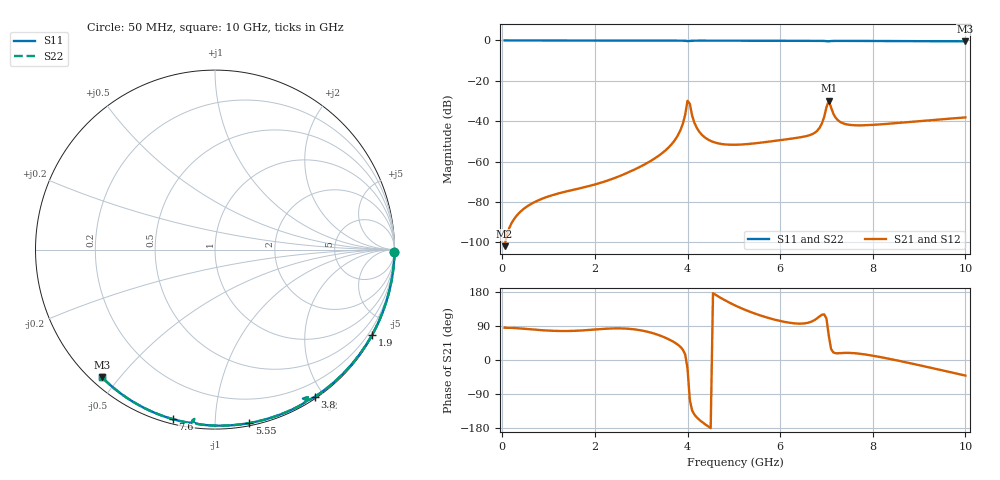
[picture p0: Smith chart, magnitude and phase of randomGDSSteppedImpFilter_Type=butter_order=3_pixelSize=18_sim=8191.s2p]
! freq	dB(S11)	phase(S11)	dB(S12)	phase(S12)
!  dB(S21)	phase(S21)	dB(S22)	phase(S22)
!S-par simulation data
#  GHz  S  DB  R 50
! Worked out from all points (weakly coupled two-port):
!   200 points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, 50 MHz to 10 GHz, reference 50 ohm
!   highest |S21| = -29.79 dB at 7.05 GHz (marker M1); lowest = -101.9 dB at 50 MHz (marker M2)
!   lowest |S11| = -0.4 dB at 10 GHz (marker M3), VSWR 38.97, Z = 1.54 - j22.4 ohm
!   |S11| at or under -10 dB: nowhere
!   |S22| runs from -0.4 to 0.0 dB; largest |S21 - S12| = 0
!   S11 on the Smith chart (normalised r, x): 50 MHz: open; 1.9 GHz: 0.03, -3.94; 3.8 GHz: 0.02, -1.89; 5.55 GHz: 0.02, -1.22; 7.6 GHz: 0.02, -0.78; 10 GHz: 0.03, -0.45
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0.05  -0.00 -0.8  -101.90 85.3  -101.90 85.3  -0.00 -0.8
0.7  -0.01 -10.6  -80.02 80.0  -80.02 80.0  -0.01 -10.6
1.75  -0.03 -26.3  -72.81 78.2  -72.81 78.2  -0.03 -26.3
1.9  -0.04 -28.5  -71.95 79.5  -71.95 79.5  -0.04 -28.5
2.7  -0.05 -40.1  -65.58 82.7  -65.58 82.7  -0.05 -40.1
3.4  -0.07 -50.1  -56.76 64.8  -56.76 64.8  -0.07 -50.1
3.8  -0.08 -55.8  -46.64 39.5  -46.64 39.5  -0.08 -55.8
3.9  -0.10 -57.5  -41.18 26.9  -41.18 26.9  -0.10 -57.4
4  -0.32 -59.4  -29.90 -22.7  -29.90 -22.7  -0.32 -59.4
4.05  -0.25 -57.8  -31.36 -106.1  -31.36 -106.1  -0.25 -57.8
4.15  -0.10 -59.8  -40.87 -144.3  -40.87 -144.3  -0.10 -59.8
4.35  -0.09 -62.8  -47.58 -167.0  -47.58 -167.0  -0.09 -62.8
5.05  -0.11 -72.3  -51.66 142.7  -51.66 142.7  -0.11 -72.3
5.55  -0.13 -78.8  -50.71 118.5  -50.71 118.5  -0.13 -78.8
6.7  -0.19 -93.4  -46.33 102.6  -46.33 102.6  -0.19 -93.4
6.9  -0.22 -96.1  -41.19 119.4  -41.19 119.4  -0.22 -96.1
7.05  -0.44 -97.0  -29.79 64.1  -29.79 64.1  -0.44 -97.0
7.15  -0.23 -98.0  -36.35 19.8  -36.35 19.8  -0.23 -98.0
7.25  -0.22 -99.5  -39.58 17.8  -39.58 17.8  -0.22 -99.5
7.6  -0.23 -103.9  -42.00 18.0  -42.00 18.0  -0.23 -103.9
8.35  -0.29 -112.8  -41.24 3.3  -41.24 3.3  -0.29 -112.7
10  -0.45 -131.6  -38.13 -41.2  -38.13 -41.2  -0.45 -131.6
